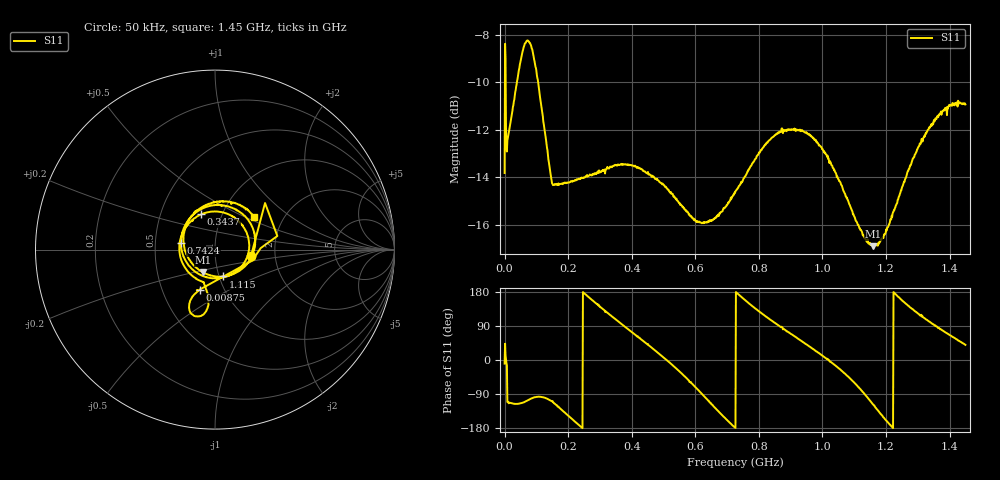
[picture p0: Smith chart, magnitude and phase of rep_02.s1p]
! Created with skrf 1.11.0 (http://scikit-rf.org).
# Hz S RI R 50.0
!freq ReS11 ImS11
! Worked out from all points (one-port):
!   1001 points, 50 kHz to 1.45 GHz, reference 50 ohm
!   lowest |S11| = -16.9 dB at 1.16 GHz (marker M1), VSWR 1.33, Z = 42.5 - j11 ohm
!   |S11| at or under -10 dB: start of sweep to 1.069 MHz; 3.459 MHz to 38.75 MHz (35.29 MHz wide, 167 % of centre); 105.6 MHz to end of sweep
!   S11 on the Smith chart (normalised r, x): 50 kHz: 1.50, -0.11; 8.75 MHz: 0.77, -0.36; 343.7 MHz: 0.80, +0.33; 742.4 MHz: 0.68, +0.05; 1.115 GHz: 1.05, -0.32; 1.45 GHz: 1.43, +0.57
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50000  0.2009 -0.0337
8749700  -0.0853 -0.2228
1.599945e7  -0.0981 -0.2341
5.079825e7  -0.1441 -0.3209
7.54474e7  -0.1019 -0.3716
1.073463e8  -0.0362 -0.3076
1.479449e8  -0.0626 -0.1859
1.812938e8  -0.1312 -0.1422
2.61041e8  -0.1962 0.0398
3.436882e8  -0.0763 0.1966
3.625375e8  -0.0318 0.2094
4.07486e8  0.0756 0.1963
4.64034e8  0.1712 0.1055
5.437812e8  0.1612 -0.0757
5.887297e8  0.0788 -0.1448
6.336782e8  -0.0303 -0.1575
7.25025e8  -0.185 -0.00531
7.424244e8  -0.1892 0.0382
8.308714e8  -0.0805 0.224
9.062688e8  0.1018 0.2297
9.990656e8  0.2235 0.0489
1.087512e9  0.1134 -0.1311
1.115062e9  0.0473 -0.1498
1.16001e9  -0.0662 -0.1266
1.218008e9  -0.1652 -0.012
1.268756e9  -0.1656 0.1218
1.361553e9  0.00947 0.2681
1.45e9  0.2178 0.1822
